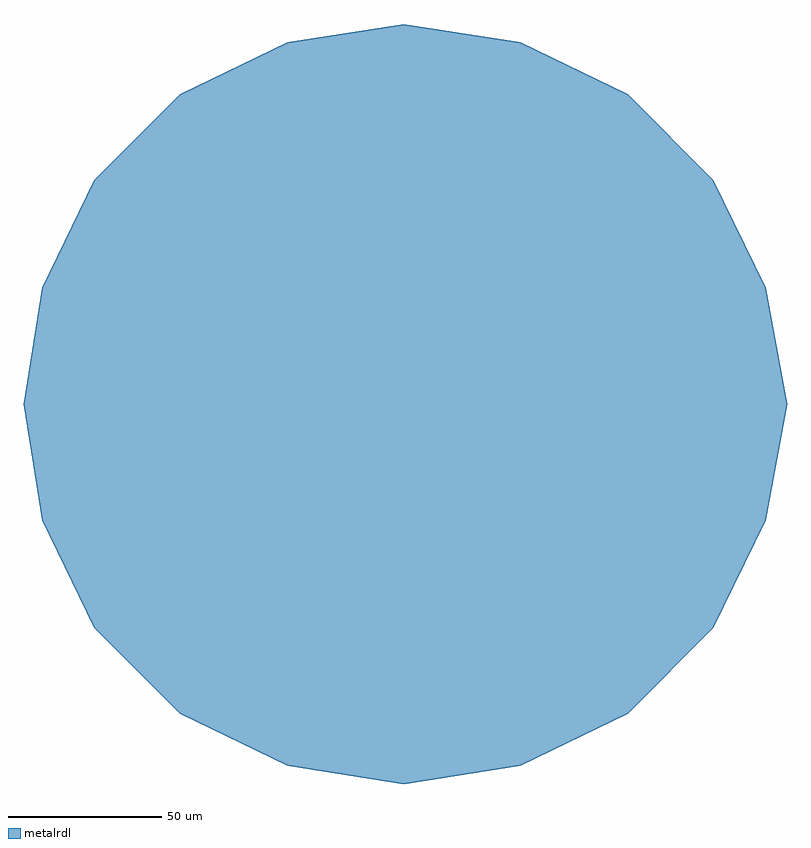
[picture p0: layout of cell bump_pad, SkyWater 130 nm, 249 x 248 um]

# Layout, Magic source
magic
tech sky130A
<< metalrdl >>
tri -3800 11800 0 12400 se
tri 0 11800 3800 12400 sw
tri -7300 10100 -3800 11800 se
rect -3800 10100 3800 11800
tri 3800 10100 7300 11800 sw
tri -10100 7300 -7300 10100 se
rect -7300 7300 7300 10100
tri 7300 7300 10100 10100 sw
tri -11800 3800 -10100 7300 se
rect -10100 3800 10100 7300
tri 10100 3800 11800 7300 sw
tri -12400 0 -11800 3800 se
tri -12400 -3800 -11800 0 ne
rect -11800 -3800 11800 3800
tri 11800 0 12500 3800 sw
tri 11800 -3800 12500 0 nw
tri -11800 -7300 -10100 -3800 ne
rect -10100 -7300 10100 -3800
tri 10100 -7300 11800 -3800 nw
tri -10100 -10100 -7300 -7300 ne
rect -7300 -10100 7300 -7300
tri 7300 -10100 10100 -7300 nw
tri -7300 -11800 -3800 -10100 ne
rect -3800 -11800 3800 -10100
tri 3800 -11800 7300 -10100 nw
tri -3800 -12400 0 -11800 ne
tri 0 -12400 3800 -11800 nw
<< end >>
